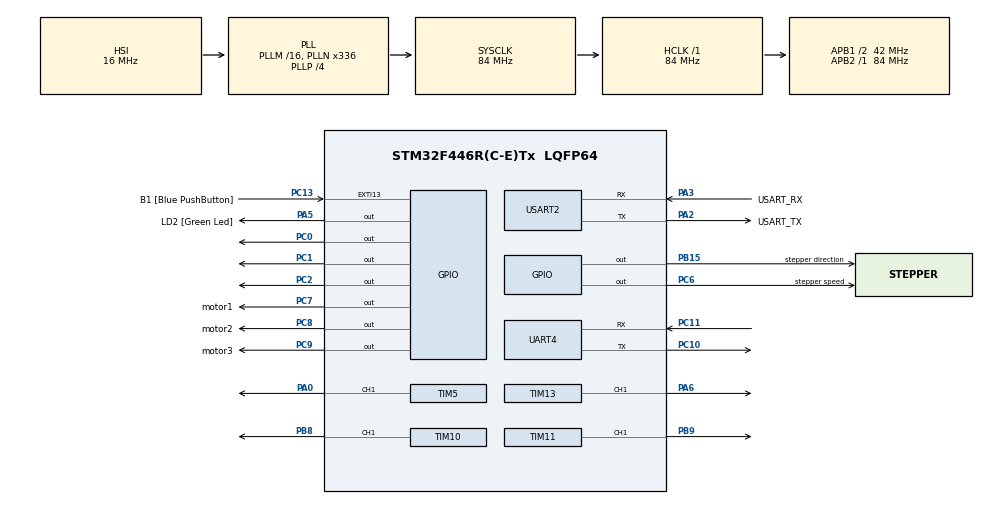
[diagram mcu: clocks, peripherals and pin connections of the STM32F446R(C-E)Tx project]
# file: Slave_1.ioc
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Dma.Request0=UART4_RX
Dma.UART4_RX.0.Direction=DMA_PERIPH_TO_MEMORY
Dma.UART4_RX.0.FIFOMode=DMA_FIFOMODE_DISABLE
Dma.UART4_RX.0.Instance=DMA1_Stream2
Dma.UART4_RX.0.MemDataAlignment=DMA_MDATAALIGN_BYTE
Dma.UART4_RX.0.MemInc=DMA_MINC_ENABLE
Dma.UART4_RX.0.Mode=DMA_CIRCULAR
Dma.UART4_RX.0.PeriphDataAlignment=DMA_PDATAALIGN_BYTE
Dma.UART4_RX.0.PeriphInc=DMA_PINC_DISABLE
Dma.UART4_RX.0.Priority=DMA_PRIORITY_LOW
Mcu.Family=STM32F4
Mcu.Name=STM32F446R(C-E)Tx
Mcu.Package=LQFP64
NVIC.DMA1_Stream2_IRQn=true\:0\:0\:false\:false\:true\:false\:true\:true
NVIC.PriorityGroup=NVIC_PRIORITYGROUP_0
NVIC.UART4_IRQn=true\:0\:0\:false\:false\:true\:true\:true\:true
PA0-WKUP.Signal=S_TIM5_CH1
PA13.GPIO_Label=TMS
PA13.Mode=Serial_Wire
PA13.Signal=SYS_JTMS-SWDIO
PA14.GPIO_Label=TCK
PA14.Mode=Serial_Wire
PA14.Signal=SYS_JTCK-SWCLK
PA2.GPIO_Label=USART_TX
PA2.Mode=Asynchronous
PA2.Signal=USART2_TX
PA3.GPIO_Label=USART_RX
PA3.Mode=Asynchronous
PA3.Signal=USART2_RX
PA5.GPIO_Label=LD2 [Green Led]
PA5.Signal=GPIO_Output
PA6.Signal=S_TIM13_CH1
PB15.GPIO_Label=stepper direction
PB15.Signal=GPIO_Output
PB6.Signal=I2C1_SCL
PB7.Signal=I2C1_SDA
PB8.Signal=S_TIM10_CH1
PB9.Signal=S_TIM11_CH1
PC0.Signal=GPIO_Output
PC1.Signal=GPIO_Output
PC10.Mode=Asynchronous
PC10.Signal=UART4_TX
PC11.Mode=Asynchronous
PC11.Signal=UART4_RX
PC13.GPIO_Label=B1 [Blue PushButton]
PC13.GPIO_ModeDefaultEXTI=GPIO_MODE_IT_FALLING
PC13.Signal=GPXTI13
PC14-OSC32_IN.Mode=LSE-External-Oscillator
PC14-OSC32_IN.Signal=RCC_OSC32_IN
PC15-OSC32_OUT.Mode=LSE-External-Oscillator
PC15-OSC32_OUT.Signal=RCC_OSC32_OUT
PC2.Signal=GPIO_Output
PC6.GPIO_Label=stepper speed
PC6.Signal=GPIO_Output
PC7.GPIO_Label=motor1
PC7.Signal=GPIO_Output
PC8.GPIO_Label=motor2
PC8.Signal=GPIO_Output
PC9.GPIO_Label=motor3
PC9.Signal=GPIO_Output
PH0-OSC_IN.Mode=HSE-External-Oscillator
PH0-OSC_IN.Signal=RCC_OSC_IN
PH1-OSC_OUT.Mode=HSE-External-Oscillator
PH1-OSC_OUT.Signal=RCC_OSC_OUT
ProjectManager.HeapSize=0x200
ProjectManager.StackSize=0x400
ProjectManager.TargetToolchain=STM32CubeIDE
RCC.48MHZClocksFreq_Value=84000000
RCC.AHBFreq_Value=84000000
RCC.APB1CLKDivider=RCC_HCLK_DIV2
RCC.APB1Freq_Value=42000000
RCC.APB1TimFreq_Value=84000000
RCC.APB2Freq_Value=84000000
RCC.APB2TimFreq_Value=84000000
RCC.CortexFreq_Value=84000000
RCC.FLatency-AdvancedSettings=FLASH_LATENCY_2
RCC.HCLKFreq_Value=84000000
RCC.HSE_VALUE=8000000
RCC.HSI_VALUE=16000000
RCC.PLLN=336
RCC.PLLP=RCC_PLLP_DIV4
RCC.SYSCLKFreq_VALUE=84000000
RCC.SYSCLKSource=RCC_SYSCLKSOURCE_PLLCLK
RCC.USBFreq_Value=168000000
RCC.VCOOutputFreq_Value=336000000
SH.S_TIM10_CH1.0=TIM10_CH1,PWM Generation1 CH1
SH.S_TIM11_CH1.0=TIM11_CH1,PWM Generation1 CH1
SH.S_TIM13_CH1.0=TIM13_CH1,PWM Generation1 CH1
SH.S_TIM5_CH1.0=TIM5_CH1,PWM Generation1 CH1
TIM10.Channel=TIM_CHANNEL_1
TIM10.Period=999
TIM10.Prescaler=179
TIM11.Channel=TIM_CHANNEL_1
TIM11.Period=999
TIM11.Prescaler=179
TIM13.Channel=TIM_CHANNEL_1
TIM13.Period=999
TIM13.Prescaler=179
TIM5.Channel-PWM\ Generation1\ CH1=TIM_CHANNEL_1
TIM5.Period=999
TIM5.Prescaler=179
TIM8.Channel-PWM\ Generation1\ CH1=TIM_CHANNEL_1
TIM8.Period=1000-1
TIM8.Prescaler=180-1
UART4.VirtualMode=Asynchronous
USART2.VirtualMode=VM_ASYNC
VP_TIM10_VS_ClockSourceINT.Mode=Enable_Timer
VP_TIM11_VS_ClockSourceINT.Mode=Enable_Timer
VP_TIM13_VS_ClockSourceINT.Mode=Enable_Timer
VP_TIM5_VS_ClockSourceINT.Mode=Internal
VP_TIM8_VS_ClockSourceINT.Mode=Internal
board=NUCLEO-F446RE

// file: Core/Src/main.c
/* USER CODE BEGIN Header */
/**
  ******************************************************************************
  * @file           : main.c
  * @brief          : Main program body
  ******************************************************************************
  * @attention
  *
  * Copyright (c) 2025 STMicroelectronics.
  * All rights reserved.
  *
  * This software is licensed under terms that can be found in the LICENSE file
  * in the root directory of this software component.
  * If no LICENSE file comes with this software, it is provided AS-IS.
  *
  ******************************************************************************
  */
/* USER CODE END Header */
#include "main.h"

TIM_HandleTypeDef htim5;
TIM_HandleTypeDef htim8;
TIM_HandleTypeDef htim10;
TIM_HandleTypeDef htim11;
TIM_HandleTypeDef htim13;

UART_HandleTypeDef huart4;
UART_HandleTypeDef huart2;
DMA_HandleTypeDef hdma_uart4_rx;

/* USER CODE BEGIN PV */
int8_t cir;
static uint32_t last_step_time = 0;
static uint32_t last_step_time1 = 0;
static int step_state = 0;
static int step_state1 = 0;
static int direction1 = 1;
int step_delay = 1;
int step_delay1 = 0.1;
static int stepper_running = 0;  // Toggle flag
static int stepper_running1 = 0;  // Toggle flag
//static int ebike_running = 0;  // Toggle flag
static int prev_cir = 0;
//static int prev_tri = 0;
//static int prev_cro = 0;
//static int prev_ll1 = 0;
//static int prev_rr1 = 0;
/* USER CODE END PV */

void SystemClock_Config(void);
static void MX_GPIO_Init(void);
static void MX_DMA_Init(void);
static void MX_USART2_UART_Init(void);
static void MX_UART4_Init(void);
static void MX_TIM8_Init(void);
static void MX_TIM5_Init(void);
static void MX_TIM10_Init(void);
static void MX_TIM11_Init(void);
static void MX_TIM13_Init(void);

/* USER CODE BEGIN 0 */
char rxbuff[2];

void HAL_UART_RxCpltCallback(UART_HandleTypeDef *huart) {
	HAL_UART_Receive_DMA(&huart4, rxbuff, 2);
}
/* USER CODE END 0 */

int main(void)
{

  /* MCU Configuration--------------------------------------------------------*/

  /* Reset of all peripherals, Initializes the Flash interface and the Systick. */
  HAL_Init();

  /* Configure the system clock */
  SystemClock_Config();

  /* Initialize all configured peripherals */
  MX_GPIO_Init();
  MX_DMA_Init();
  MX_USART2_UART_Init();
  MX_UART4_Init();
  MX_TIM8_Init();
  MX_TIM5_Init();
  MX_TIM10_Init();
  MX_TIM11_Init();
  MX_TIM13_Init();
  /* USER CODE BEGIN 2 */
  HAL_UART_Receive_DMA(&huart4, rxbuff, 2);
  /* USER CODE END 2 */

  /* Infinite loop */
  while (1)
  {

    /* USER CODE BEGIN 3 */
	  cir = (int8_t)rxbuff[0];
	  printf("Circle: %d, Cross: %d\r\n", (int8_t)rxbuff[0], (int8_t)rxbuff[1]);

	  /* Stepper */

	  		/* Test */
	  		stepper_running = 1;
	  		stepper_running1 = 1;
	  		/* Test */
	  		HAL_GPIO_WritePin(GPIOC, GPIO_PIN_3,
	  				direction1 ? GPIO_PIN_SET : GPIO_PIN_RESET);
	  		HAL_GPIO_WritePin(GPIOC, GPIO_PIN_6,
	  				direction1 ? GPIO_PIN_SET : GPIO_PIN_RESET);

//	  		if (ll1 == 1 && !prev_ll1) {  // LL1 button pressed
//	  			direction1 = 1;  // Set to Anti-clockwise
//	  			stepper_running = 1;
//	  			stepper_running1 = 1;
//	  		}
//	  		if (rr1 == 1 && !prev_rr1) {  // RR1 button pressed
//	  			direction1 = 0;  // Set to Clockwise
//	  			stepper_running = 1;
//	  			stepper_running1 = 1;
//	  		}
	  		if (cir == 1 && !prev_cir) {
	  			stepper_running = 0;
	  			stepper_running1 = 0;
	  		}
//	  		prev_ll1 = ll1;
//	  		prev_rr1 = rr1;
	  		prev_cir = cir;

	  		if (stepper_running && (HAL_GetTick() - last_step_time) >= step_delay) {
	  			last_step_time = HAL_GetTick();

	  			if (step_state == 0) {
	  				HAL_GPIO_WritePin(GPIOC, GPIO_PIN_5, GPIO_PIN_SET); // Step HIGH
	  				step_state = 1;
	  			} else {
	  				HAL_GPIO_WritePin(GPIOC, GPIO_PIN_5, GPIO_PIN_RESET); // Step LOW
	  				step_state = 0;
	  			}
	  		}

	  		if (stepper_running1
	  				&& (HAL_GetTick() - last_step_time1) >= step_delay1) {
	  			last_step_time1 = HAL_GetTick(); // Update last step time

	  			if (step_state1 == 0) {
	  				HAL_GPIO_WritePin(GPIOB, GPIO_PIN_15, GPIO_PIN_SET); // Step HIGH
	  				step_state1 = 1;
	  			} else {
	  				HAL_GPIO_WritePin(GPIOB, GPIO_PIN_15, GPIO_PIN_RESET); // Step LOW
	  				step_state1 = 0;
	  			}
	  		}
  }
  /* USER CODE END 3 */
}

void SystemClock_Config(void)
{
  RCC_OscInitTypeDef RCC_OscInitStruct = {0};
  RCC_ClkInitTypeDef RCC_ClkInitStruct = {0};

  /** Configure the main internal regulator output voltage
  */
  __HAL_RCC_PWR_CLK_ENABLE();
  __HAL_PWR_VOLTAGESCALING_CONFIG(PWR_REGULATOR_VOLTAGE_SCALE3);

  /** Initializes the RCC Oscillators according to the specified parameters
  * in the RCC_OscInitTypeDef structure.
  */
  RCC_OscInitStruct.OscillatorType = RCC_OSCILLATORTYPE_HSI;
  RCC_OscInitStruct.HSIState = RCC_HSI_ON;
  RCC_OscInitStruct.HSICalibrationValue = RCC_HSICALIBRATION_DEFAULT;
  RCC_OscInitStruct.PLL.PLLState = RCC_PLL_ON;
  RCC_OscInitStruct.PLL.PLLSource = RCC_PLLSOURCE_HSI;
  RCC_OscInitStruct.PLL.PLLM = 16;
  RCC_OscInitStruct.PLL.PLLN = 336;
  RCC_OscInitStruct.PLL.PLLP = RCC_PLLP_DIV4;
  RCC_OscInitStruct.PLL.PLLQ = 2;
  RCC_OscInitStruct.PLL.PLLR = 2;
  if (HAL_RCC_OscConfig(&RCC_OscInitStruct) != HAL_OK)
  {
    Error_Handler();
  }

  /** Initializes the CPU, AHB and APB buses clocks
  */
  RCC_ClkInitStruct.ClockType = RCC_CLOCKTYPE_HCLK|RCC_CLOCKTYPE_SYSCLK
                              |RCC_CLOCKTYPE_PCLK1|RCC_CLOCKTYPE_PCLK2;
  RCC_ClkInitStruct.SYSCLKSource = RCC_SYSCLKSOURCE_PLLCLK;
  RCC_ClkInitStruct.AHBCLKDivider = RCC_SYSCLK_DIV1;
  RCC_ClkInitStruct.APB1CLKDivider = RCC_HCLK_DIV2;
  RCC_ClkInitStruct.APB2CLKDivider = RCC_HCLK_DIV1;

  if (HAL_RCC_ClockConfig(&RCC_ClkInitStruct, FLASH_LATENCY_2) != HAL_OK)
  {
    Error_Handler();
  }
}

static void MX_TIM5_Init(void)
{

  TIM_ClockConfigTypeDef sClockSourceConfig = {0};
  TIM_MasterConfigTypeDef sMasterConfig = {0};
  TIM_OC_InitTypeDef sConfigOC = {0};

  htim5.Instance = TIM5;
  htim5.Init.Prescaler = 179;
  htim5.Init.CounterMode = TIM_COUNTERMODE_UP;
  htim5.Init.Period = 999;
  htim5.Init.ClockDivision = TIM_CLOCKDIVISION_DIV1;
  htim5.Init.AutoReloadPreload = TIM_AUTORELOAD_PRELOAD_DISABLE;
  if (HAL_TIM_Base_Init(&htim5) != HAL_OK)
  {
    Error_Handler();
  }
  sClockSourceConfig.ClockSource = TIM_CLOCKSOURCE_INTERNAL;
  if (HAL_TIM_ConfigClockSource(&htim5, &sClockSourceConfig) != HAL_OK)
  {
    Error_Handler();
  }
  if (HAL_TIM_PWM_Init(&htim5) != HAL_OK)
  {
    Error_Handler();
  }
  sMasterConfig.MasterOutputTrigger = TIM_TRGO_RESET;
  sMasterConfig.MasterSlaveMode = TIM_MASTERSLAVEMODE_DISABLE;
  if (HAL_TIMEx_MasterConfigSynchronization(&htim5, &sMasterConfig) != HAL_OK)
  {
    Error_Handler();
  }
  sConfigOC.OCMode = TIM_OCMODE_PWM1;
  sConfigOC.Pulse = 0;
  sConfigOC.OCPolarity = TIM_OCPOLARITY_HIGH;
  sConfigOC.OCFastMode = TIM_OCFAST_DISABLE;
  if (HAL_TIM_PWM_ConfigChannel(&htim5, &sConfigOC, TIM_CHANNEL_1) != HAL_OK)
  {
    Error_Handler();
  }
  HAL_TIM_MspPostInit(&htim5);

}

static void MX_TIM8_Init(void)
{

  TIM_ClockConfigTypeDef sClockSourceConfig = {0};
  TIM_MasterConfigTypeDef sMasterConfig = {0};

  htim8.Instance = TIM8;
  htim8.Init.Prescaler = 180-1;
  htim8.Init.CounterMode = TIM_COUNTERMODE_UP;
  htim8.Init.Period = 1000-1;
  htim8.Init.ClockDivision = TIM_CLOCKDIVISION_DIV1;
  htim8.Init.RepetitionCounter = 0;
  htim8.Init.AutoReloadPreload = TIM_AUTORELOAD_PRELOAD_DISABLE;
  if (HAL_TIM_Base_Init(&htim8) != HAL_OK)
  {
    Error_Handler();
  }
  sClockSourceConfig.ClockSource = TIM_CLOCKSOURCE_INTERNAL;
  if (HAL_TIM_ConfigClockSource(&htim8, &sClockSourceConfig) != HAL_OK)
  {
    Error_Handler();
  }
  sMasterConfig.MasterOutputTrigger = TIM_TRGO_RESET;
  sMasterConfig.MasterSlaveMode = TIM_MASTERSLAVEMODE_DISABLE;
  if (HAL_TIMEx_MasterConfigSynchronization(&htim8, &sMasterConfig) != HAL_OK)
  {
    Error_Handler();
  }

}

static void MX_TIM10_Init(void)
{

  TIM_OC_InitTypeDef sConfigOC = {0};

  htim10.Instance = TIM10;
  htim10.Init.Prescaler = 179;
  htim10.Init.CounterMode = TIM_COUNTERMODE_UP;
  htim10.Init.Period = 999;
  htim10.Init.ClockDivision = TIM_CLOCKDIVISION_DIV1;
  htim10.Init.AutoReloadPreload = TIM_AUTORELOAD_PRELOAD_DISABLE;
  if (HAL_TIM_Base_Init(&htim10) != HAL_OK)
  {
    Error_Handler();
  }
  if (HAL_TIM_PWM_Init(&htim10) != HAL_OK)
  {
    Error_Handler();
  }
  sConfigOC.OCMode = TIM_OCMODE_PWM1;
  sConfigOC.Pulse = 0;
  sConfigOC.OCPolarity = TIM_OCPOLARITY_HIGH;
  sConfigOC.OCFastMode = TIM_OCFAST_DISABLE;
  if (HAL_TIM_PWM_ConfigChannel(&htim10, &sConfigOC, TIM_CHANNEL_1) != HAL_OK)
  {
    Error_Handler();
  }
  HAL_TIM_MspPostInit(&htim10);

}

static void MX_TIM11_Init(void)
{

  TIM_OC_InitTypeDef sConfigOC = {0};

  htim11.Instance = TIM11;
  htim11.Init.Prescaler = 179;
  htim11.Init.CounterMode = TIM_COUNTERMODE_UP;
  htim11.Init.Period = 999;
  htim11.Init.ClockDivision = TIM_CLOCKDIVISION_DIV1;
  htim11.Init.AutoReloadPreload = TIM_AUTORELOAD_PRELOAD_DISABLE;
  if (HAL_TIM_Base_Init(&htim11) != HAL_OK)
  {
    Error_Handler();
  }
  if (HAL_TIM_PWM_Init(&htim11) != HAL_OK)
  {
    Error_Handler();
  }
  sConfigOC.OCMode = TIM_OCMODE_PWM1;
  sConfigOC.Pulse = 0;
  sConfigOC.OCPolarity = TIM_OCPOLARITY_HIGH;
  sConfigOC.OCFastMode = TIM_OCFAST_DISABLE;
  if (HAL_TIM_PWM_ConfigChannel(&htim11, &sConfigOC, TIM_CHANNEL_1) != HAL_OK)
  {
    Error_Handler();
  }
  HAL_TIM_MspPostInit(&htim11);

}

static void MX_TIM13_Init(void)
{

  TIM_OC_InitTypeDef sConfigOC = {0};

  htim13.Instance = TIM13;
  htim13.Init.Prescaler = 179;
  htim13.Init.CounterMode = TIM_COUNTERMODE_UP;
  htim13.Init.Period = 999;
  htim13.Init.ClockDivision = TIM_CLOCKDIVISION_DIV1;
  htim13.Init.AutoReloadPreload = TIM_AUTORELOAD_PRELOAD_DISABLE;
  if (HAL_TIM_Base_Init(&htim13) != HAL_OK)
  {
    Error_Handler();
  }
  if (HAL_TIM_PWM_Init(&htim13) != HAL_OK)
  {
    Error_Handler();
  }
  sConfigOC.OCMode = TIM_OCMODE_PWM1;
  sConfigOC.Pulse = 0;
  sConfigOC.OCPolarity = TIM_OCPOLARITY_HIGH;
  sConfigOC.OCFastMode = TIM_OCFAST_DISABLE;
  if (HAL_TIM_PWM_ConfigChannel(&htim13, &sConfigOC, TIM_CHANNEL_1) != HAL_OK)
  {
    Error_Handler();
  }
  HAL_TIM_MspPostInit(&htim13);

}

static void MX_UART4_Init(void)
{

  huart4.Instance = UART4;
  huart4.Init.BaudRate = 115200;
  huart4.Init.WordLength = UART_WORDLENGTH_8B;
  huart4.Init.StopBits = UART_STOPBITS_1;
  huart4.Init.Parity = UART_PARITY_NONE;
  huart4.Init.Mode = UART_MODE_TX_RX;
  huart4.Init.HwFlowCtl = UART_HWCONTROL_NONE;
  huart4.Init.OverSampling = UART_OVERSAMPLING_16;
  if (HAL_UART_Init(&huart4) != HAL_OK)
  {
    Error_Handler();
  }

}

static void MX_USART2_UART_Init(void)
{

  huart2.Instance = USART2;
  huart2.Init.BaudRate = 115200;
  huart2.Init.WordLength = UART_WORDLENGTH_8B;
  huart2.Init.StopBits = UART_STOPBITS_1;
  huart2.Init.Parity = UART_PARITY_NONE;
  huart2.Init.Mode = UART_MODE_TX_RX;
  huart2.Init.HwFlowCtl = UART_HWCONTROL_NONE;
  huart2.Init.OverSampling = UART_OVERSAMPLING_16;
  if (HAL_UART_Init(&huart2) != HAL_OK)
  {
    Error_Handler();
  }

}

static void MX_DMA_Init(void)
{

  /* DMA controller clock enable */
  __HAL_RCC_DMA1_CLK_ENABLE();

  /* DMA interrupt init */
  /* DMA1_Stream2_IRQn interrupt configuration */
  HAL_NVIC_SetPriority(DMA1_Stream2_IRQn, 0, 0);
  HAL_NVIC_EnableIRQ(DMA1_Stream2_IRQn);

}

static void MX_GPIO_Init(void)
{
  GPIO_InitTypeDef GPIO_InitStruct = {0};

  /* GPIO Ports Clock Enable */
  __HAL_RCC_GPIOC_CLK_ENABLE();
  __HAL_RCC_GPIOH_CLK_ENABLE();
  __HAL_RCC_GPIOA_CLK_ENABLE();
  __HAL_RCC_GPIOB_CLK_ENABLE();

  /*Configure GPIO pin Output Level */
  HAL_GPIO_WritePin(GPIOC, GPIO_PIN_0|GPIO_PIN_1|GPIO_PIN_2|stepper_speed_Pin
                          |motor1_Pin|motor2_Pin|motor3_Pin, GPIO_PIN_RESET);

  /*Configure GPIO pin Output Level */
  HAL_GPIO_WritePin(LD2_GPIO_Port, LD2_Pin, GPIO_PIN_RESET);

  /*Configure GPIO pin Output Level */
  HAL_GPIO_WritePin(stepper_direction_GPIO_Port, stepper_direction_Pin, GPIO_PIN_RESET);

  /*Configure GPIO pin : B1_Pin */
  GPIO_InitStruct.Pin = B1_Pin;
  GPIO_InitStruct.Mode = GPIO_MODE_IT_FALLING;
  GPIO_InitStruct.Pull = GPIO_NOPULL;
  HAL_GPIO_Init(B1_GPIO_Port, &GPIO_InitStruct);

  /*Configure GPIO pins : PC0 PC1 PC2 stepper_speed_Pin
                           motor1_Pin motor2_Pin motor3_Pin */
  GPIO_InitStruct.Pin = GPIO_PIN_0|GPIO_PIN_1|GPIO_PIN_2|stepper_speed_Pin
                          |motor1_Pin|motor2_Pin|motor3_Pin;
  GPIO_InitStruct.Mode = GPIO_MODE_OUTPUT_PP;
  GPIO_InitStruct.Pull = GPIO_NOPULL;
  GPIO_InitStruct.Speed = GPIO_SPEED_FREQ_LOW;
  HAL_GPIO_Init(GPIOC, &GPIO_InitStruct);

  /*Configure GPIO pin : LD2_Pin */
  GPIO_InitStruct.Pin = LD2_Pin;
  GPIO_InitStruct.Mode = GPIO_MODE_OUTPUT_PP;
  GPIO_InitStruct.Pull = GPIO_NOPULL;
  GPIO_InitStruct.Speed = GPIO_SPEED_FREQ_LOW;
  HAL_GPIO_Init(LD2_GPIO_Port, &GPIO_InitStruct);

  /*Configure GPIO pin : stepper_direction_Pin */
  GPIO_InitStruct.Pin = stepper_direction_Pin;
  GPIO_InitStruct.Mode = GPIO_MODE_OUTPUT_PP;
  GPIO_InitStruct.Pull = GPIO_NOPULL;
  GPIO_InitStruct.Speed = GPIO_SPEED_FREQ_LOW;
  HAL_GPIO_Init(stepper_direction_GPIO_Port, &GPIO_InitStruct);

  /*Configure GPIO pins : PB6 PB7 */
  GPIO_InitStruct.Pin = GPIO_PIN_6|GPIO_PIN_7;
  GPIO_InitStruct.Mode = GPIO_MODE_AF_OD;
  GPIO_InitStruct.Pull = GPIO_NOPULL;
  GPIO_InitStruct.Speed = GPIO_SPEED_FREQ_VERY_HIGH;
  GPIO_InitStruct.Alternate = GPIO_AF4_I2C1;
  HAL_GPIO_Init(GPIOB, &GPIO_InitStruct);

}

/* USER CODE BEGIN 4 */
int _write(int file, char *ptr, int len) {
	HAL_UART_Transmit(&huart2, (uint8_t*) ptr, len, HAL_MAX_DELAY);
	return len;
}
/* USER CODE END 4 */

void Error_Handler(void)
{
  __disable_irq();
  while (1)
  {
  }
}
